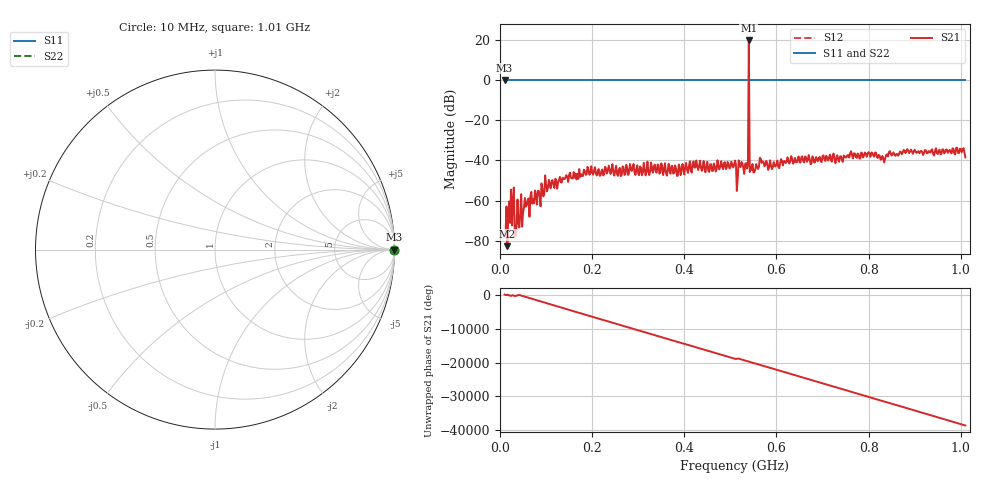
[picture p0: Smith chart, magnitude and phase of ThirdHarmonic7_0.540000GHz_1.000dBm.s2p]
! 8/17/2025 4:13:06 PM
! C:\ANRITSUVNA\TEMP\TEMP.S2P
! CHANNEL.1
! TR.MEASUREMENT
! RAW.DATA
! RF.CORRECTION.OFF
! AVERAGING.OFF
! IF.BANDWIDTH: 5KHZ
! SWEEPTYPE:  FREQ.SWEEP(Linear)
! Reference Plane Port Info
! PORT:  PORT1  PORT2
! DISTANCE:  0  m  0  m
! TIME:  0  s  0  s
! PHASE.OFFSET:  0  deg.  0  deg.
! LOSS:  0  dB  0  dB
! REF.LOSS:  0  dB  0  dB
! REF.FREQ:  0  Hz  0  Hz
! Power Info
! POWER:  -20  dBm  -20  dBm
! EFF.POWER:  -20  dBm  -20  dBm
! SOURCE.ATTEN:  0  dB  0  dB
! TEST.ATTEN:  0  dB  0  dB
# GHZ S RI R 50.0
! FREQ.GHZ  S11RE  S11IM  S21RE  S21IM  S12RE  S12IM  S22RE  S22IM
!; PortSelection: Port_12
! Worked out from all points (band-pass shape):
!   501 points, 10 MHz to 1.01 GHz, reference 50 ohm
!   highest |S21| = 19.62 dB at 540 MHz (marker M1); lowest = -82.6 dB at 16 MHz (marker M2)
!   |S21| within 3 dB of the highest: 539.9033 MHz to 540.0918 MHz (188.5 kHz wide, 0.0349 % of centre)
!   lowest |S11| = 0.0 dB at 10 MHz (marker M3)
!   |S11| at or under -10 dB: nowhere
!   |S22| runs from 0.0 to 0.0 dB; largest |S21 - S12| = 10
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0.01  1 0  -3.5e-06 0.000128  1 0  1 0
0.016  1 0  3.32e-05 6.63e-05  1 0  1 0
0.026  1 0  -0.000229 -7.56e-05  1 0  1 0
0.036  1 0  -0.000246 5.14e-05  1 0  1 0
0.042  1 0  5.53e-05 -0.000208  1 0  1 0
0.044  1 0  1.45e-05 -0.00049  1 0  1 0
0.058  1 0  0.000713 0.000267  1 0  1 0
0.084  1 0  0.00163 0.000641  1 0  1 0
0.102  1 0  0.0016 0.000604  1 0  1 0
0.178  1 0  -0.00394 -0.0011  1 0  1 0
0.344  1 0  0.00688 -0.00287  1 0  1 0
0.506  1 0  0.00648 -0.00168  1 0  1 0
0.51  1 0  -0.00977 -0.00151  1 0  1 0
0.534  1 0  0.00257 -0.00822  1 0  1 0
0.536  1 0  -0.00488 -0.00387  1 0  1 0
0.54  1 0  -5.268 7.99  1 0  1 0
0.544  1 0  -0.00252 -0.00624  1 0  1 0
0.546  1 0  -0.00553 -0.0018  1 0  1 0
0.568  1 0  0.00789 0.00363  1 0  1 0
0.678  1 0  0.00605 -0.011  1 0  1 0
0.844  1 0  -0.00698 0.0144  1 0  1 0
1.01  1 0  0.000486 -0.0119  1 0  1 0
